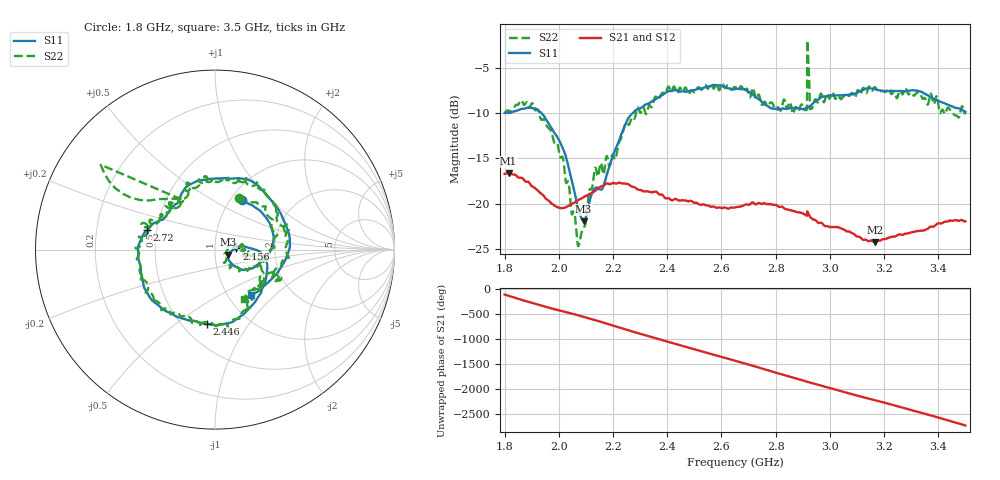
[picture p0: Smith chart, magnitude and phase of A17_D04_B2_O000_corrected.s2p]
! Created with skrf 1.9.0 (http://scikit-rf.org).
# Hz S RI R 50.0
!freq ReS11 ImS11 ReS21 ImS21 ReS12 ImS12 ReS22 ImS22
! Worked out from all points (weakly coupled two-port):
!   1601 points, 1.8 GHz to 3.5 GHz, reference 50 ohm
!   highest |S21| = -16.65 dB at 1.815 GHz (marker M1); lowest = -24.2 dB at 3.165 GHz (marker M2)
!   lowest |S11| = -21.9 dB at 2.091 GHz (marker M3), VSWR 1.17, Z = 58 - j3.29 ohm
!   |S11| at or under -10 dB: start of sweep to 1.808269 GHz; 1.809 GHz to 1.819 GHz (9.775 MHz wide, 0.539 % of centre); 1.935 GHz to 2.274 GHz (338.8 MHz wide, 16.1 % of centre)
!   |S22| runs from -24.7 to -2.0 dB; largest |S21 - S12| = 0.0025
!   S11 on the Smith chart (normalised r, x): 1.8 GHz: 1.13, +0.70; 2.156 GHz: 1.27, +0.02; 2.446 GHz: 0.66, -0.66; 2.72 GHz: 0.44, +0.11; 3.5 GHz: 1.27, -0.71
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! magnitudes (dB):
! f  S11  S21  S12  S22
! 1.8 GHz  -10.0  -16.7  -16.7  -10.0
! 1.815 GHz  -10.0  -16.6  -16.6  -9.8
! 1.902 GHz  -9.5  -18.1  -18.1  -8.9
! 1.967 GHz  -11.4  -19.8  -19.9  -11.8
! 2.014 GHz  -13.8  -20.5  -20.5  -14.9
! 2.071 GHz  -20.5  -19.6  -19.7  -24.7
! 2.084 GHz  -21.6  -19.5  -19.4  -23.2
! 2.091 GHz  -21.9  -19.3  -19.4  -22.7
! 2.13 GHz  -18.4  -18.7  -18.7  -16.5
! 2.156 GHz  -18.5  -18.1  -18.1  -15.6
! 2.209 GHz  -14.0  -17.8  -17.7  -15.1
! 2.258 GHz  -10.5  -17.9  -17.9  -11.3
! 2.367 GHz  -8.3  -18.9  -18.9  -8.5
! 2.446 GHz  -7.6  -19.7  -19.7  -7.2
! 2.65 GHz  -7.4  -20.4  -20.4  -7.1
! 2.72 GHz  -8.1  -20.0  -19.9  -7.6
! 2.907 GHz  -9.5  -21.2  -21.2  -9.7
! 2.925 GHz  -9.3  -21.4  -21.3  -7.5
! 2.934 GHz  -9.1  -21.7  -21.6  -9.5
! 3.165 GHz  -7.4  -24.2  -24.2  -7.2
! 3.217 GHz  -7.6  -23.8  -23.7  -7.4
! 3.5 GHz  -9.9  -22.0  -21.9  -10.0
